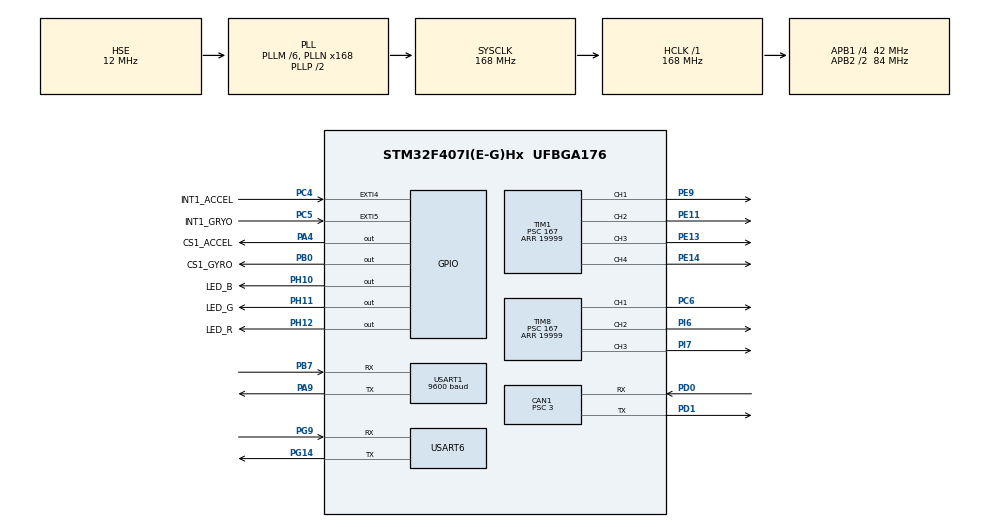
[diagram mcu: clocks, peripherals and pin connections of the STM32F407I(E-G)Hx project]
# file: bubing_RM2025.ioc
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CAN1.BS1=CAN_BS1_10TQ
CAN1.BS2=CAN_BS2_3TQ
CAN1.CalculateBaudRate=1000000
CAN1.CalculateTimeBit=1000
CAN1.CalculateTimeQuantum=71.42857142857143
CAN1.Prescaler=3
Dma.Request0=USART6_TX
Dma.Request1=USART6_RX
Dma.Request2=USART1_RX
Dma.USART1_RX.2.Direction=DMA_PERIPH_TO_MEMORY
Dma.USART1_RX.2.FIFOMode=DMA_FIFOMODE_DISABLE
Dma.USART1_RX.2.Instance=DMA2_Stream2
Dma.USART1_RX.2.MemDataAlignment=DMA_MDATAALIGN_BYTE
Dma.USART1_RX.2.MemInc=DMA_MINC_ENABLE
Dma.USART1_RX.2.Mode=DMA_NORMAL
Dma.USART1_RX.2.PeriphDataAlignment=DMA_PDATAALIGN_BYTE
Dma.USART1_RX.2.PeriphInc=DMA_PINC_DISABLE
Dma.USART1_RX.2.Priority=DMA_PRIORITY_VERY_HIGH
Dma.USART6_RX.1.Direction=DMA_PERIPH_TO_MEMORY
Dma.USART6_RX.1.FIFOMode=DMA_FIFOMODE_DISABLE
Dma.USART6_RX.1.Instance=DMA2_Stream1
Dma.USART6_RX.1.MemDataAlignment=DMA_MDATAALIGN_BYTE
Dma.USART6_RX.1.MemInc=DMA_MINC_ENABLE
Dma.USART6_RX.1.Mode=DMA_CIRCULAR
Dma.USART6_RX.1.PeriphDataAlignment=DMA_PDATAALIGN_BYTE
Dma.USART6_RX.1.PeriphInc=DMA_PINC_DISABLE
Dma.USART6_RX.1.Priority=DMA_PRIORITY_MEDIUM
Dma.USART6_TX.0.Direction=DMA_MEMORY_TO_PERIPH
Dma.USART6_TX.0.FIFOMode=DMA_FIFOMODE_DISABLE
Dma.USART6_TX.0.Instance=DMA2_Stream6
Dma.USART6_TX.0.MemDataAlignment=DMA_MDATAALIGN_BYTE
Dma.USART6_TX.0.MemInc=DMA_MINC_ENABLE
Dma.USART6_TX.0.Mode=DMA_CIRCULAR
Dma.USART6_TX.0.PeriphDataAlignment=DMA_PDATAALIGN_BYTE
Dma.USART6_TX.0.PeriphInc=DMA_PINC_DISABLE
Dma.USART6_TX.0.Priority=DMA_PRIORITY_MEDIUM
Mcu.Family=STM32F4
Mcu.Name=STM32F407I(E-G)Hx
Mcu.Package=UFBGA176
NVIC.CAN1_RX0_IRQn=true\:0\:0\:false\:false\:true\:true\:true\:true
NVIC.DMA2_Stream1_IRQn=true\:0\:0\:false\:false\:true\:false\:true\:true
NVIC.DMA2_Stream2_IRQn=true\:0\:0\:false\:false\:true\:false\:true\:true
NVIC.DMA2_Stream6_IRQn=true\:0\:0\:false\:false\:true\:false\:true\:true
NVIC.PriorityGroup=NVIC_PRIORITYGROUP_4
NVIC.TIM7_IRQn=true\:15\:0\:false\:false\:true\:false\:true\:true
NVIC.TIM8_BRK_TIM12_IRQn=true\:0\:0\:false\:false\:true\:true\:true\:true
NVIC.TimeBase=TIM7_IRQn
NVIC.TimeBaseIP=TIM7
NVIC.USART1_IRQn=true\:0\:0\:false\:false\:true\:true\:true\:true
NVIC.USART6_IRQn=true\:0\:0\:false\:false\:true\:true\:true\:true
PA13.Mode=Serial_Wire
PA13.Signal=SYS_JTMS-SWDIO
PA14.Mode=Serial_Wire
PA14.Signal=SYS_JTCK-SWCLK
PA4.GPIO_Label=CS1_ACCEL
PA4.GPIO_PuPd=GPIO_PULLUP
PA4.GPIO_Speed=GPIO_SPEED_FREQ_HIGH
PA4.PinState=GPIO_PIN_SET
PA4.Signal=GPIO_Output
PA9.Mode=Asynchronous
PA9.Signal=USART1_TX
PB0.GPIO_Label=CS1_GYRO
PB0.GPIO_PuPd=GPIO_PULLUP
PB0.GPIO_Speed=GPIO_SPEED_FREQ_HIGH
PB0.PinState=GPIO_PIN_SET
PB0.Signal=GPIO_Output
PB7.Mode=Asynchronous
PB7.Signal=USART1_RX
PC4.GPIO_Label=INT1_ACCEL
PC4.GPIO_PuPd=GPIO_PULLUP
PC4.Signal=GPXTI4
PC5.GPIO_Label=INT1_GRYO
PC5.GPIO_PuPd=GPIO_PULLUP
PC5.Signal=GPXTI5
PC6.Signal=S_TIM8_CH1
PD0.Mode=CAN_Activate
PD0.Signal=CAN1_RX
PD1.Mode=CAN_Activate
PD1.Signal=CAN1_TX
PE11.Signal=S_TIM1_CH2
PE13.Signal=S_TIM1_CH3
PE14.Signal=S_TIM1_CH4
PE9.Signal=S_TIM1_CH1
PG14.Mode=Asynchronous
PG14.Signal=USART6_TX
PG9.Mode=Asynchronous
PG9.Signal=USART6_RX
PH0-OSC_IN.Mode=HSE-External-Oscillator
PH0-OSC_IN.Signal=RCC_OSC_IN
PH1-OSC_OUT.Mode=HSE-External-Oscillator
PH1-OSC_OUT.Signal=RCC_OSC_OUT
PH10.GPIO_Label=LED_B
PH10.Signal=GPIO_Output
PH11.GPIO_Label=LED_G
PH11.Signal=GPIO_Output
PH12.GPIO_Label=LED_R
PH12.Signal=GPIO_Output
PI6.Signal=S_TIM8_CH2
PI7.Signal=S_TIM8_CH3
ProjectManager.HeapSize=0x200
ProjectManager.StackSize=0x400
ProjectManager.TargetToolchain=MDK-ARM V5.32
RCC.48MHZClocksFreq_Value=84000000
RCC.AHBFreq_Value=168000000
RCC.APB1CLKDivider=RCC_HCLK_DIV4
RCC.APB1Freq_Value=42000000
RCC.APB1TimFreq_Value=84000000
RCC.APB2CLKDivider=RCC_HCLK_DIV2
RCC.APB2Freq_Value=84000000
RCC.APB2TimFreq_Value=168000000
RCC.CortexFreq_Value=168000000
RCC.HCLKFreq_Value=168000000
RCC.HSE_VALUE=12000000
RCC.HSI_VALUE=16000000
RCC.LSE_VALUE=32768
RCC.PLLM=6
RCC.PLLN=168
RCC.PLLSourceVirtual=RCC_PLLSOURCE_HSE
RCC.SYSCLKFreq_VALUE=168000000
RCC.SYSCLKSource=RCC_SYSCLKSOURCE_PLLCLK
RCC.VCOOutputFreq_Value=336000000
SH.S_TIM1_CH1.0=TIM1_CH1,PWM Generation1 CH1
SH.S_TIM1_CH2.0=TIM1_CH2,PWM Generation2 CH2
SH.S_TIM1_CH3.0=TIM1_CH3,PWM Generation3 CH3
SH.S_TIM1_CH4.0=TIM1_CH4,PWM Generation4 CH4
SH.S_TIM8_CH1.0=TIM8_CH1,PWM Generation1 CH1
SH.S_TIM8_CH2.0=TIM8_CH2,PWM Generation2 CH2
SH.S_TIM8_CH3.0=TIM8_CH3,PWM Generation3 CH3
TIM1.Channel-PWM\ Generation1\ CH1=TIM_CHANNEL_1
TIM1.Channel-PWM\ Generation2\ CH2=TIM_CHANNEL_2
TIM1.Channel-PWM\ Generation3\ CH3=TIM_CHANNEL_3
TIM1.Channel-PWM\ Generation4\ CH4=TIM_CHANNEL_4
TIM1.Period=19999
TIM1.Prescaler=167
TIM1.Pulse-PWM\ Generation1\ CH1=2000
TIM1.Pulse-PWM\ Generation2\ CH2=2000
TIM1.Pulse-PWM\ Generation3\ CH3=2000
TIM1.Pulse-PWM\ Generation4\ CH4=2000
TIM12.Period=499
TIM12.Prescaler=83
TIM8.Channel-PWM\ Generation1\ CH1=TIM_CHANNEL_1
TIM8.Channel-PWM\ Generation2\ CH2=TIM_CHANNEL_2
TIM8.Channel-PWM\ Generation3\ CH3=TIM_CHANNEL_3
TIM8.Period=19999
TIM8.Prescaler=167
TIM8.Pulse-PWM\ Generation1\ CH1=2000
TIM8.Pulse-PWM\ Generation2\ CH2=2000
TIM8.Pulse-PWM\ Generation3\ CH3=2000
USART1.BaudRate=9600
USART1.VirtualMode=VM_ASYNC
USART6.VirtualMode=VM_ASYNC
VP_SYS_VS_tim7.Mode=TIM7
VP_TIM12_VS_ClockSourceINT.Mode=Internal
VP_TIM1_VS_ClockSourceINT.Mode=Internal
VP_TIM8_VS_ClockSourceINT.Mode=Internal
board=custom

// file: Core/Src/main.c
/* USER CODE BEGIN Header */
/**
  ******************************************************************************
  * @file           : main.c
  * @brief          : Main program body
  ******************************************************************************
  * @attention
  *
  * Copyright (c) 2025 STMicroelectronics.
  * All rights reserved.
  *
  * This software is licensed under terms that can be found in the LICENSE file
  * in the root directory of this software component.
  * If no LICENSE file comes with this software, it is provided AS-IS.
  *
  ******************************************************************************
  */
/* USER CODE END Header */
#include "main.h"
#include "can.h"
#include "dma.h"
#include "tim.h"
#include "usart.h"
#include "gpio.h"

/* USER CODE BEGIN Includes */
#include "RobStride.h"
#include "uart_printf.h"
#include "math.h"
/* USER CODE END Includes */

/* USER CODE BEGIN PTD */

//备份例程

//    switch(mode)
//    {
//        // ===== 普通模式接口 =====
//        case 0: // 使能（普通模式）
//            RobStride_01.Enable_Motor();
//		HAL_Delay(500);
//            break;
//        case 1: // 失能（普通模式）
//            RobStride_01.Disenable_Motor(1);
//            break;
//        case 2: // 运控模式
//            HAL_Delay(5);
//            RobStride_01.RobStride_Motor_move_control(5, 0, 0, 0.0, 0.0);
//            break;
//        case 3: // PP位置模式
//            RobStride_01.RobStride_Motor_Pos_control(2.0, 0);
//						HAL_Delay(5);
//            break;
//				case 4:	//CSP位置模式
//						RobStride_01.RobStride_Motor_CSP_control(2.0, 2.0);
//						HAL_Delay(5);
//						break;
//        case 5: // 速度模式
//            RobStride_01.RobStride_Motor_Speed_control(3.5, 5.0);
//						HAL_Delay(5);
//            break;
//        case 6: // 电流模式
//            HAL_Delay(5);
//            RobStride_01.RobStride_Motor_current_control(1.2);
//            break;
//        case 7: // 设置机械零点
//            RobStride_01.Set_ZeroPos();
//            break;
//        case 8: // 读取参数
//            RobStride_01.Get_RobStride_Motor_parameter(0x7014);
//            break;
//        case 9: // 设置参数
//            RobStride_01.Set_RobStride_Motor_parameter(0x7014, 0.35f, Set_parameter);
//            break;
//        case 10: // 协议切换（如切MIT协议/Canopen/私有协议）
//            RobStride_01.RobStride_Motor_MotorModeSet(0x02); // 0x02=MIT
//            break;

//        // ===== MIT模式接口（只能用MIT专用函数！） =====
//        case 11: // MIT 使能
//            RobStride_01.RobStride_Motor_MIT_Enable();
//            break;
//        case 12: // MIT 失能
//            RobStride_01.RobStride_Motor_MIT_Disable();
//            break;
//        case 13: // MIT 综合控制
//						RobStride_01.RobStride_Motor_MIT_SetMotorType(0x01);
//            RobStride_01.RobStride_Motor_MIT_Enable();
//            HAL_Delay(5);
//            RobStride_01.RobStride_Motor_MIT_Control(0, 0, 0, 0, -1.0f);
//            break;
//        case 14: // MIT 位置控制
//						RobStride_01.RobStride_Motor_MIT_SetMotorType(0x01);
//						RobStride_01.RobStride_Motor_MIT_Enable();
//            HAL_Delay(5);
//            RobStride_01.RobStride_Motor_MIT_PositionControl(1.57f, 3.0f);
//            break;
//        case 15: // MIT 速度控制
//						RobStride_01.RobStride_Motor_MIT_SetMotorType(0x02);
//						RobStride_01.RobStride_Motor_MIT_Enable();
//            HAL_Delay(5);
//            RobStride_01.RobStride_Motor_MIT_SpeedControl(4.5f, 3.2f);
//            break;
//        case 16: // MIT 零点设置（运行前需保证 MIT_Type != positionControl）
//            RobStride_01.RobStride_Motor_MIT_SetZeroPos();
//            break;
//        case 17: // MIT 清错
//            RobStride_01.RobStride_Motor_MIT_ClearOrCheckError(0x01);
//            break;
//        case 18: // MIT 设置电机运行模式
//            RobStride_01.RobStride_Motor_MIT_SetMotorType(0x01);
//            break;
//        case 19: // MIT 设置电机ID
//            RobStride_01.RobStride_Motor_MIT_SetMotorId(0x05);
//            break;
//        case 20: //主动上报
//            RobStride_01.RobStride_Motor_ProactiveEscalationSet(0x00);
//            break;
//        case 21: // 波特率修改
//            RobStride_01.RobStride_Motor_BaudRateChange(0x01);
//            break;
//        case 22: // MIT 参数保存
//            RobStride_01.RobStride_Motor_MotorDataSave();
//            break;
//				case 23: // MIT 协议切换（如切MIT协议/Canopen/私有协议）
//						RobStride_01.RobStride_Motor_MIT_MotorModeSet(0x00);
//						break;

//        default:
//            break;
//    }
//
//		HAL_Delay(50);
//	mode = 6;

/* USER CODE END PTD */

void SystemClock_Config(void);
/* USER CODE BEGIN PFP */
CAN_FilterTypeDef CAN_FilterStrue;
CAN_TxHeaderTypeDef CAN_TxHeaderStrue;
CAN_RxHeaderTypeDef CAN_RxHeaderStrue;
uint8_t pRxdata[8], pTxdata[8];
RobStride_Motor RobStride_01(0x01,false);
RobStride_Motor RobStride_02(0x02,false);
RobStride_Motor RobStride_03(0x03,false);
RobStride_Motor RobStride_04(0x04,false);
RobStride_Motor RobStride_05(0x05,false);
RobStride_Motor RobStride_06(0x06,false);
RobStride_Motor RobStride_07(0x07,false);
RobStride_Motor RobStride_08(0x08,false);
RobStride_Motor RobStride_09(0x09,false);

float time ;

float leg1_big_angle ;
float leg2_big_angle ;
float leg3_big_angle ;
float leg4_big_angle ;
float bozi5_angle ;

float leg6_small_angle ;
float leg7_small_angle ;
float leg8_small_angle ;
float leg9_small_angle ;

float leg1_init_kp ;
float leg2_init_kp ;
float leg3_init_kp ;
float leg4_init_kp ;
float bozi5_init_kp ;

float leg6_init_kp ;
float leg7_init_kp ;
float leg8_init_kp ;
float leg9_init_kp ;

float start_time ;

//uint8_t mode = 0;
//uint8_t init_state = 0 ;
/* USER CODE END PFP */

int main(void)
{

  /* MCU Configuration--------------------------------------------------------*/

  /* Reset of all peripherals, Initializes the Flash interface and the Systick. */
  HAL_Init();

  /* Configure the system clock */
  SystemClock_Config();

  /* Initialize all configured peripherals */
  MX_GPIO_Init();
  MX_DMA_Init();
  MX_USART6_UART_Init();
  MX_CAN1_Init();
  MX_USART1_UART_Init();
  MX_TIM1_Init();
  MX_TIM8_Init();
  MX_TIM12_Init();
  /* USER CODE BEGIN 2 */
  CAN_FilterStrue.FilterBank = 0;
  CAN_FilterStrue.FilterMode = CAN_FILTERMODE_IDMASK;
  CAN_FilterStrue.FilterScale = CAN_FILTERSCALE_16BIT;
  CAN_FilterStrue.FilterIdHigh = 0;
	CAN_FilterStrue.FilterIdLow = 0;
	CAN_FilterStrue.FilterActivation = ENABLE;
	CAN_FilterStrue.FilterFIFOAssignment = CAN_RX_FIFO0;

	HAL_Delay(2000);

	HAL_CAN_ConfigFilter(&hcan1, &CAN_FilterStrue);
  HAL_CAN_Start(&hcan1); //鍚姩CAN
  HAL_CAN_ActivateNotification(&hcan1, CAN_IT_RX_FIFO0_MSG_PENDING);
  HAL_TIM_Base_Start(&htim1);
  HAL_TIM_PWM_Start(&htim1, TIM_CHANNEL_1);
  HAL_TIM_PWM_Start(&htim1, TIM_CHANNEL_2);
  HAL_TIM_PWM_Start(&htim1, TIM_CHANNEL_3);
  HAL_TIM_PWM_Start(&htim1, TIM_CHANNEL_4);
  HAL_TIM_Base_Start(&htim8);
  HAL_TIM_PWM_Start(&htim8, TIM_CHANNEL_1);
  HAL_TIM_PWM_Start(&htim8, TIM_CHANNEL_2);
  HAL_TIM_PWM_Start(&htim8, TIM_CHANNEL_3);
  HAL_Delay(1000);

  RobStride_01.RobStride_Motor_ProactiveEscalationSet(0x01);
  HAL_Delay(2);

  RobStride_02.RobStride_Motor_ProactiveEscalationSet(0x01);
  HAL_Delay(2);

  RobStride_03.RobStride_Motor_ProactiveEscalationSet(0x01);
  HAL_Delay(2);

  RobStride_04.RobStride_Motor_ProactiveEscalationSet(0x01);
  HAL_Delay(2);

  RobStride_05.RobStride_Motor_ProactiveEscalationSet(0x01);
  HAL_Delay(2);

  RobStride_06.RobStride_Motor_ProactiveEscalationSet(0x01);
  HAL_Delay(2);

  RobStride_07.RobStride_Motor_ProactiveEscalationSet(0x01);
  HAL_Delay(2);

  RobStride_08.RobStride_Motor_ProactiveEscalationSet(0x01);
  HAL_Delay(2);

  RobStride_09.RobStride_Motor_ProactiveEscalationSet(0x01);
  HAL_Delay(2);

  // MIT 综合控制

  RobStride_01.RobStride_Motor_MIT_SetMotorType(0x00);
  RobStride_01.RobStride_Motor_MIT_Enable();
  HAL_Delay(2);

  RobStride_02.RobStride_Motor_MIT_SetMotorType(0x00);
  RobStride_02.RobStride_Motor_MIT_Enable();
  HAL_Delay(2);

  RobStride_03.RobStride_Motor_MIT_SetMotorType(0x00);
  RobStride_03.RobStride_Motor_MIT_Enable();
  HAL_Delay(2);

  RobStride_04.RobStride_Motor_MIT_SetMotorType(0x00);
  RobStride_04.RobStride_Motor_MIT_Enable();
  HAL_Delay(2);

  RobStride_05.RobStride_Motor_MIT_SetMotorType(0x00);
  RobStride_05.RobStride_Motor_MIT_Enable();
  HAL_Delay(2);

  RobStride_06.RobStride_Motor_MIT_SetMotorType(0x00);
  RobStride_06.RobStride_Motor_MIT_Enable();
  HAL_Delay(2);

  RobStride_07.RobStride_Motor_MIT_SetMotorType(0x00);
  RobStride_07.RobStride_Motor_MIT_Enable();
  HAL_Delay(2);

  RobStride_08.RobStride_Motor_MIT_SetMotorType(0x00);
  RobStride_08.RobStride_Motor_MIT_Enable();
  HAL_Delay(2);

  RobStride_09.RobStride_Motor_MIT_SetMotorType(0x00);
  RobStride_09.RobStride_Motor_MIT_Enable();
  HAL_Delay(2);

  HAL_TIM_Base_Start_IT(&htim12);

  /* USER CODE END 2 */

  /* Infinite loop */
  /* USER CODE BEGIN WHILE */
  while (1)
  {
	  if(start_time < INIT_TIME)
	  {
		  start_time ++ ;

		  //大腿
		  leg1_init_kp = (start_time/INIT_TIME) * LEG1_KP ;
		  leg2_init_kp = (start_time/INIT_TIME) * LEG2_KP ;
		  leg3_init_kp = (start_time/INIT_TIME) * LEG3_KP ;
		  leg4_init_kp = (start_time/INIT_TIME) * LEG4_KP ;
		  //脖子
		  bozi5_init_kp = (start_time/INIT_TIME) * BOZI_KP ;
		  //小腿
		  leg6_init_kp = (start_time/INIT_TIME) * LEG6_KP ;
		  leg7_init_kp = (start_time/INIT_TIME) * LEG7_KP ;
		  leg8_init_kp = (start_time/INIT_TIME) * LEG8_KP ;
		  leg9_init_kp = (start_time/INIT_TIME) * LEG9_KP ;

//		  RobStride_01.RobStride_Motor_MIT_Control(leg1_big_angle, 0.0f, leg1_init_kp, 0.05f, 0.0f);
//		  HAL_Delay(1);
//		  RobStride_02.RobStride_Motor_MIT_Control(leg2_big_angle, 0.0f, leg2_init_kp, 0.05f, 0.0f);
//		  HAL_Delay(1);
//		  RobStride_03.RobStride_Motor_MIT_Control(leg3_big_angle, 0.0f, leg3_init_kp, 0.05f, 0.0f);
//		  HAL_Delay(1);
//		  RobStride_04.RobStride_Motor_MIT_Control(leg4_big_angle, 0.0f, leg4_init_kp, 0.05f, 0.0f);
//		  HAL_Delay(1);
//
// 		  RobStride_05.RobStride_Motor_MIT_Control(bozi5_angle, 0.0f, bozi5_init_kp, 0.05f, 0.0f);
//		  HAL_Delay(1);
//
//		  RobStride_06.RobStride_Motor_MIT_Control(leg6_small_angle, 0.0f, leg6_init_kp, 0.05f, 0.0f);
//		  HAL_Delay(1);
		  RobStride_07.RobStride_Motor_MIT_Control(leg7_small_angle, 0.0f, leg7_init_kp, 0.0f, 0.0f);
		  HAL_Delay(1);
//		  RobStride_08.RobStride_Motor_MIT_Control(leg8_small_angle, 0.0f, leg8_init_kp, 0.05f, 0.0f);
//		  HAL_Delay(1);
//		  RobStride_09.RobStride_Motor_MIT_Control(leg9_small_angle, 0.0f, leg9_init_kp, 0.05f, 0.0f);
//		  HAL_Delay(1);

	  }
	  else
	  {

//		  RobStride_01.RobStride_Motor_MIT_Control(leg1_big_angle, 0.0f, LEG1_KP, 0.05f, 0.0f);
//		  HAL_Delay(1);
//		  RobStride_02.RobStride_Motor_MIT_Control(leg2_big_angle, 0.0f, LEG2_KP, 0.05f, 0.0f);
//		  HAL_Delay(1);
//		  RobStride_03.RobStride_Motor_MIT_Control(leg3_big_angle, 0.0f, LEG3_KP, 0.05f, 0.0f);
//		  HAL_Delay(1);
//		  RobStride_04.RobStride_Motor_MIT_Control(leg4_big_angle, 0.0f, LEG4_KP, 0.05f, 0.0f);
//		  HAL_Delay(1);
//
//		  RobStride_05.RobStride_Motor_MIT_Control(bozi5_angle, 0.0f, BOZI_KP, 0.05f, 0.0f);
//		  HAL_Delay(1);
//
//		  RobStride_06.RobStride_Motor_MIT_Control(leg6_small_angle, 0.0f, LEG6_KP, 0.05f, 0.0f);
//		  HAL_Delay(1);
		  RobStride_07.RobStride_Motor_MIT_Control(leg7_small_angle, 0.0f, LEG7_KP, 2.0f, 0.0f);
		  HAL_Delay(1);
//		  RobStride_08.RobStride_Motor_MIT_Control(leg8_small_angle, 0.0f, LEG8_KP, 0.05f, 0.0f);
//		  HAL_Delay(1);
//		  RobStride_09.RobStride_Motor_MIT_Control(leg9_small_angle, 0.0f, LEG9_KP, 0.05f, 0.0f);
//		  HAL_Delay(1);
	  }

//	  float motor1_angle = RobStride_01.Pos_Info.Angle;
//	  float motor1_speed = RobStride_01.Pos_Info.Speed;
//
//	  float motor2_angle = RobStride_02.Pos_Info.Angle;
//	  float motor2_speed = RobStride_02.Pos_Info.Speed;
//
//	  float motor3_angle = RobStride_03.Pos_Info.Angle;
//	  float motor3_speed = RobStride_03.Pos_Info.Speed;
//
//	  float motor4_angle = RobStride_04.Pos_Info.Angle;
//	  float motor4_speed = RobStride_04.Pos_Info.Speed;
//
//	  float motor5_angle = RobStride_05.Pos_Info.Angle;
//	  float motor5_speed = RobStride_05.Pos_Info.Speed;

//	  float motor6_angle = RobStride_06.Pos_Info.Angle;
//	  float motor6_speed = RobStride_06.Pos_Info.Speed;

	  float motor7_angle = RobStride_07.Pos_Info.Angle;
//	  float motor7_speed = RobStride_07.Pos_Info.Speed;

//	  float motor8_angle = RobStride_08.Pos_Info.Angle;
//	  float motor8_speed = RobStride_08.Pos_Info.Speed;

//	  float motor9_angle = RobStride_09.Pos_Info.Angle;
//	  float motor9_speed = RobStride_09.Pos_Info.Speed;

	  usart6_printf("%f,%f \r\n",motor7_angle,leg7_small_angle);
	  HAL_Delay(1);

	//步态

    /* USER CODE END WHILE */

  }
}

void SystemClock_Config(void)
{
  RCC_OscInitTypeDef RCC_OscInitStruct = {0};
  RCC_ClkInitTypeDef RCC_ClkInitStruct = {0};

  /** Configure the main internal regulator output voltage
  */
  __HAL_RCC_PWR_CLK_ENABLE();
  __HAL_PWR_VOLTAGESCALING_CONFIG(PWR_REGULATOR_VOLTAGE_SCALE1);

  /** Initializes the RCC Oscillators according to the specified parameters
  * in the RCC_OscInitTypeDef structure.
  */
  RCC_OscInitStruct.OscillatorType = RCC_OSCILLATORTYPE_HSE;
  RCC_OscInitStruct.HSEState = RCC_HSE_ON;
  RCC_OscInitStruct.PLL.PLLState = RCC_PLL_ON;
  RCC_OscInitStruct.PLL.PLLSource = RCC_PLLSOURCE_HSE;
  RCC_OscInitStruct.PLL.PLLM = 6;
  RCC_OscInitStruct.PLL.PLLN = 168;
  RCC_OscInitStruct.PLL.PLLP = RCC_PLLP_DIV2;
  RCC_OscInitStruct.PLL.PLLQ = 4;
  if (HAL_RCC_OscConfig(&RCC_OscInitStruct) != HAL_OK)
  {
    Error_Handler();
  }

  /** Initializes the CPU, AHB and APB buses clocks
  */
  RCC_ClkInitStruct.ClockType = RCC_CLOCKTYPE_HCLK|RCC_CLOCKTYPE_SYSCLK
                              |RCC_CLOCKTYPE_PCLK1|RCC_CLOCKTYPE_PCLK2;
  RCC_ClkInitStruct.SYSCLKSource = RCC_SYSCLKSOURCE_PLLCLK;
  RCC_ClkInitStruct.AHBCLKDivider = RCC_SYSCLK_DIV1;
  RCC_ClkInitStruct.APB1CLKDivider = RCC_HCLK_DIV4;
  RCC_ClkInitStruct.APB2CLKDivider = RCC_HCLK_DIV2;

  if (HAL_RCC_ClockConfig(&RCC_ClkInitStruct, FLASH_LATENCY_5) != HAL_OK)
  {
    Error_Handler();
  }
}

/* USER CODE BEGIN 4 */
CAN_RxHeaderTypeDef RXHeader;
uint8_t RxData[8];
void HAL_CAN_RxFifo0MsgPendingCallback(CAN_HandleTypeDef *hcan)
{

	if(HAL_CAN_GetRxMessage(hcan,CAN_RX_FIFO0,&RXHeader,RxData) == HAL_OK)
	{
		if (RXHeader.IDE == CAN_ID_EXT)
		{
			if (RxData[0] == 0x01)
            {
                RobStride_01.RobStride_Motor_Analysis(RxData, RXHeader.ExtId);
            }
            else if (RxData[0] == 0x02)
            {
                RobStride_02.RobStride_Motor_Analysis(RxData, RXHeader.ExtId);
            }
            else if (RxData[0] == 0x03)
            {
                RobStride_03.RobStride_Motor_Analysis(RxData, RXHeader.ExtId);
            }
            else if (RxData[0] == 0x04)
            {
                RobStride_04.RobStride_Motor_Analysis(RxData, RXHeader.ExtId);
            }
            else if (RxData[0] == 0x05)
            {
                RobStride_05.RobStride_Motor_Analysis(RxData, RXHeader.ExtId);
            }
			else if (RxData[0] == 0x06)
            {
                RobStride_06.RobStride_Motor_Analysis(RxData, RXHeader.ExtId);
            }
			else if (RxData[0] == 0x07)
            {
                RobStride_07.RobStride_Motor_Analysis(RxData, RXHeader.ExtId);
            }
			else if (RxData[0] == 0x08)
            {
                RobStride_08.RobStride_Motor_Analysis(RxData, RXHeader.ExtId);
            }
			else if (RxData[0] == 0x09)
            {
                RobStride_09.RobStride_Motor_Analysis(RxData, RXHeader.ExtId);
            }

		}
		else
		{
			if (RxData[0] == 0x01)
            {
                RobStride_01.RobStride_Motor_Analysis(RxData, RXHeader.StdId);
            }
            else if (RxData[0] == 0x02)
            {
                RobStride_02.RobStride_Motor_Analysis(RxData, RXHeader.StdId);
            }
            else if (RxData[0] == 0x03)
            {
                RobStride_03.RobStride_Motor_Analysis(RxData, RXHeader.StdId);
            }
            else if (RxData[0] == 0x04)
            {
                RobStride_04.RobStride_Motor_Analysis(RxData, RXHeader.StdId);
            }
            else if (RxData[0] == 0x05)
            {
                RobStride_05.RobStride_Motor_Analysis(RxData, RXHeader.StdId);
            }
			else if (RxData[0] == 0x06)
            {
                RobStride_06.RobStride_Motor_Analysis(RxData, RXHeader.StdId);
            }
			else if (RxData[0] == 0x07)
            {
                RobStride_07.RobStride_Motor_Analysis(RxData, RXHeader.StdId);
            }
			else if (RxData[0] == 0x08)
            {
                RobStride_08.RobStride_Motor_Analysis(RxData, RXHeader.StdId);
            }
			else if (RxData[0] == 0x09)
            {
                RobStride_09.RobStride_Motor_Analysis(RxData, RXHeader.StdId);
            }

		}
	}
}

/* USER CODE END 4 */

void HAL_TIM_PeriodElapsedCallback(TIM_HandleTypeDef *htim)
{
  /* USER CODE BEGIN Callback 0 */
	if(htim == &htim12)
	{
		if(time > (2*PI) )
		{
			time = time - (2*PI) ;
		}
		time = time + HOURSE_SPEED ;

		leg1_big_angle = HOURSE_BIG_LEG_RANGE_FRONT * sinf(time + LEG_1_MOTOR_PHASE);
		leg2_big_angle = HOURSE_BIG_LEG_RANGE_FRONT * sinf(time + LEG_2_MOTOR_PHASE);
		leg3_big_angle = HOURSE_BIG_LEG_RANGE_BEHIND * sinf(time + LEG_3_MOTOR_PHASE);
		leg4_big_angle = HOURSE_BIG_LEG_RANGE_BEHIND * sinf(time + LEG_4_MOTOR_PHASE);

		bozi5_angle = HOURSE_BOZI_RANGE * sinf(time + BOZI_5_MOTOR_PHASE);

		leg6_small_angle = HOURSE_SMALL_LEG_RANGE_FRONT * sinf(time + LEG_6_MOTOR_PHASE);
		leg7_small_angle = HOURSE_SMALL_LEG_RANGE_FRONT * sinf(time + LEG_7_MOTOR_PHASE);
		leg8_small_angle = HOURSE_SMALL_LEG_RANGE_BEHIND * sinf(time + LEG_8_MOTOR_PHASE);
		leg9_small_angle = HOURSE_SMALL_LEG_RANGE_BEHIND * sinf(time + LEG_9_MOTOR_PHASE);

	}

  /* USER CODE END Callback 0 */
  if (htim->Instance == TIM7) {
    HAL_IncTick();
  }
}

void Error_Handler(void)
{
  __disable_irq();
  while (1)
  {
  }
}
